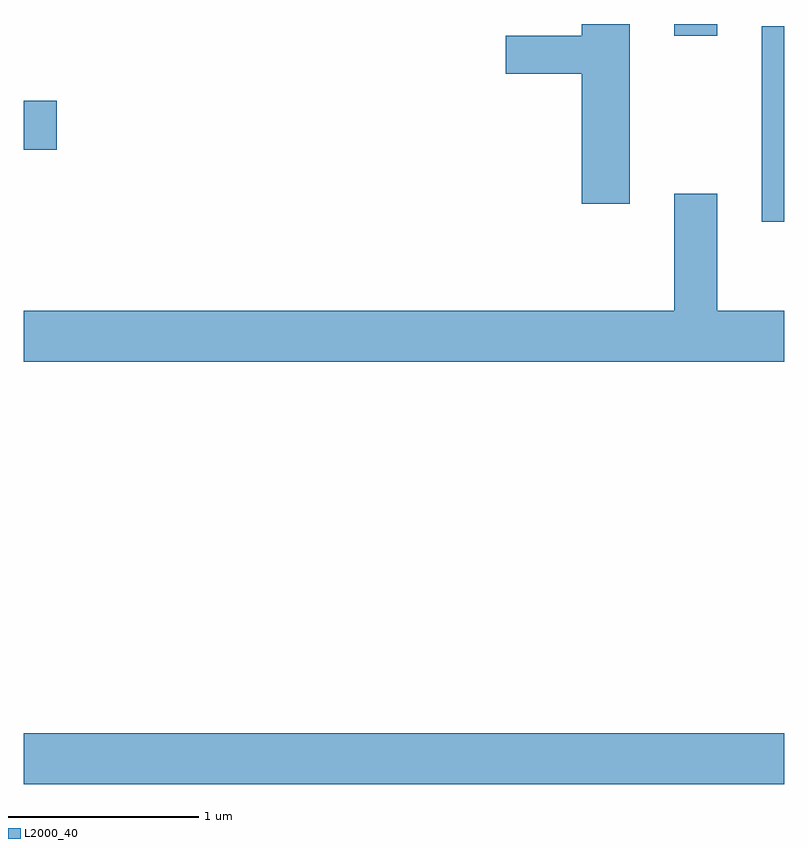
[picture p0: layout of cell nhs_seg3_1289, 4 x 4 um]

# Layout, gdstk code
import gdstk
lib = gdstk.Library(unit=1e-6, precision=1e-09)
def R(c, l, rs):  # rectangles x0, y0, x1, y1
    for r in rs: c.add(gdstk.rectangle(r[:2], r[2:], *l))
def P(c, l, *ps):  # polygons
    for p in ps: c.add(gdstk.Polygon(p, *l))
L2000_40 = (2000, 40)

nhs_seg3_1289 = lib.new_cell('nhs_seg3_1289')
R(nhs_seg3_1289, L2000_40, [(221.611,1245.896,225.611,1246.164), (225.491,1248.851,225.611,1249.879), (221.611,1249.231,221.784,1249.489), (225.031,1249.831,225.259,1249.892)])
P(nhs_seg3_1289, L2000_40, [(224.799,1249.892),(224.546,1249.892),(224.546,1249.829),(224.146,1249.829),(224.146,1249.631),(224.546,1249.631),(224.546,1248.946),(224.799,1248.946)],
  [(225.611,1248.384),(225.259,1248.384),(225.259,1248.999),(225.031,1248.999),(225.031,1248.384),(221.611,1248.384),(221.611,1248.116),(225.611,1248.116)])

lib.write_gds('nhs_seg3_1289.gds')
